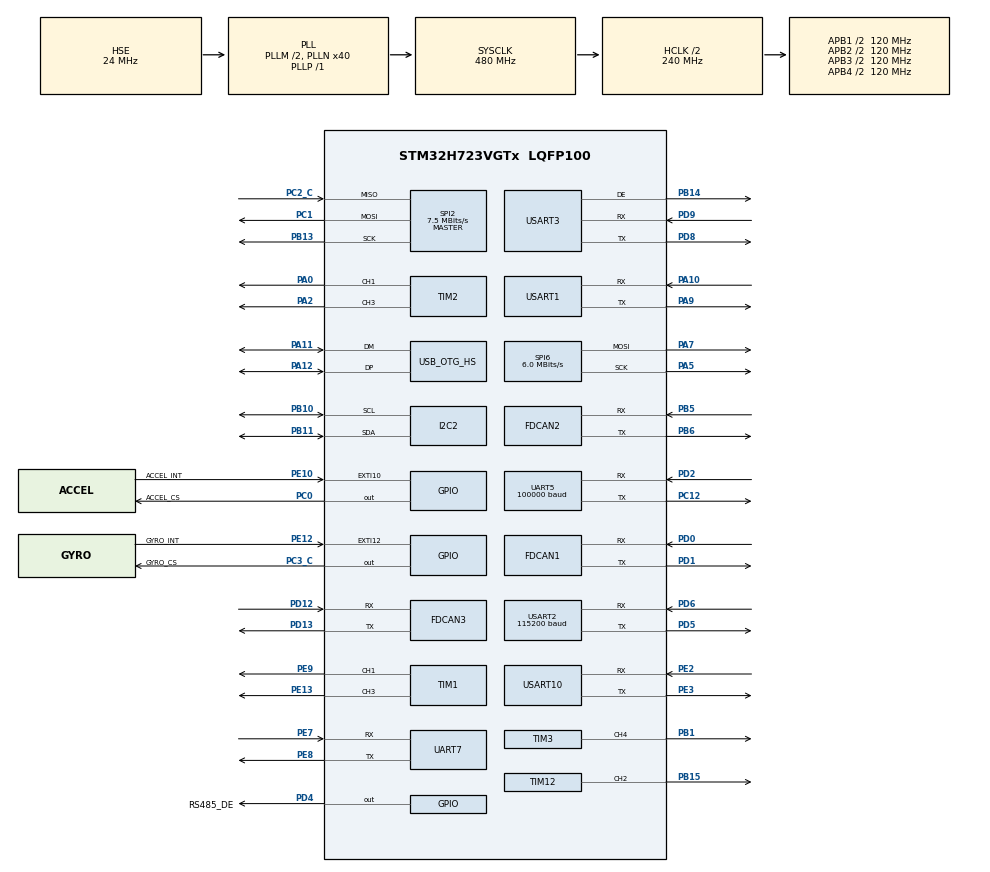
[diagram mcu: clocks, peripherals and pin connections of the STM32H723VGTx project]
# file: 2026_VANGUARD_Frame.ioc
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CORTEX_M7.AccessPermission_Spec=MPU_REGION_FULL_ACCESS
CORTEX_M7.BaseAddress_Spec=0x24000000
CORTEX_M7.CPU_DCache=Disabled
CORTEX_M7.CPU_ICache=Disabled
CORTEX_M7.DisableExec_Spec=MPU_INSTRUCTION_ACCESS_ENABLE
CORTEX_M7.IsShareable_Spec=MPU_ACCESS_NOT_SHAREABLE
CORTEX_M7.Size_Spec=MPU_REGION_SIZE_512KB
CORTEX_M7.SubRegionDisable_Spec=0x0
CORTEX_M7.TypeExtField_Spec=MPU_TEX_LEVEL1
CORTEX_M7.default_mode_Activation=0
Dma.Request0=UART7_RX
Dma.Request1=UART7_TX
Dma.Request2=UART5_RX
Dma.Request3=USART10_TX
Dma.Request4=USART10_RX
Dma.UART5_RX.2.Direction=DMA_PERIPH_TO_MEMORY
Dma.UART5_RX.2.EventEnable=DISABLE
Dma.UART5_RX.2.FIFOMode=DMA_FIFOMODE_DISABLE
Dma.UART5_RX.2.Instance=DMA1_Stream0
Dma.UART5_RX.2.MemDataAlignment=DMA_MDATAALIGN_BYTE
Dma.UART5_RX.2.MemInc=DMA_MINC_ENABLE
Dma.UART5_RX.2.Mode=DMA_NORMAL
Dma.UART5_RX.2.PeriphDataAlignment=DMA_PDATAALIGN_BYTE
Dma.UART5_RX.2.PeriphInc=DMA_PINC_DISABLE
Dma.UART5_RX.2.Polarity=HAL_DMAMUX_REQ_GEN_RISING
Dma.UART5_RX.2.Priority=DMA_PRIORITY_LOW
Dma.UART5_RX.2.RequestNumber=1
Dma.UART5_RX.2.SignalID=NONE
Dma.UART5_RX.2.SyncEnable=DISABLE
Dma.UART5_RX.2.SyncPolarity=HAL_DMAMUX_SYNC_NO_EVENT
Dma.UART5_RX.2.SyncRequestNumber=1
Dma.UART5_RX.2.SyncSignalID=NONE
Dma.UART7_RX.0.Direction=DMA_PERIPH_TO_MEMORY
Dma.UART7_RX.0.EventEnable=DISABLE
Dma.UART7_RX.0.FIFOMode=DMA_FIFOMODE_DISABLE
Dma.UART7_RX.0.Instance=DMA1_Stream1
Dma.UART7_RX.0.MemDataAlignment=DMA_MDATAALIGN_BYTE
Dma.UART7_RX.0.MemInc=DMA_MINC_ENABLE
Dma.UART7_RX.0.Mode=DMA_NORMAL
Dma.UART7_RX.0.PeriphDataAlignment=DMA_PDATAALIGN_BYTE
Dma.UART7_RX.0.PeriphInc=DMA_PINC_DISABLE
Dma.UART7_RX.0.Polarity=HAL_DMAMUX_REQ_GEN_RISING
Dma.UART7_RX.0.Priority=DMA_PRIORITY_LOW
Dma.UART7_RX.0.RequestNumber=1
Dma.UART7_RX.0.SignalID=NONE
Dma.UART7_RX.0.SyncEnable=DISABLE
Dma.UART7_RX.0.SyncPolarity=HAL_DMAMUX_SYNC_NO_EVENT
Dma.UART7_RX.0.SyncRequestNumber=1
Dma.UART7_RX.0.SyncSignalID=NONE
Dma.UART7_TX.1.Direction=DMA_MEMORY_TO_PERIPH
Dma.UART7_TX.1.EventEnable=DISABLE
Dma.UART7_TX.1.FIFOMode=DMA_FIFOMODE_DISABLE
Dma.UART7_TX.1.Instance=DMA2_Stream0
Dma.UART7_TX.1.MemDataAlignment=DMA_MDATAALIGN_BYTE
Dma.UART7_TX.1.MemInc=DMA_MINC_ENABLE
Dma.UART7_TX.1.Mode=DMA_NORMAL
Dma.UART7_TX.1.PeriphDataAlignment=DMA_PDATAALIGN_BYTE
Dma.UART7_TX.1.PeriphInc=DMA_PINC_DISABLE
Dma.UART7_TX.1.Polarity=HAL_DMAMUX_REQ_GEN_RISING
Dma.UART7_TX.1.Priority=DMA_PRIORITY_LOW
Dma.UART7_TX.1.RequestNumber=1
Dma.UART7_TX.1.SignalID=NONE
Dma.UART7_TX.1.SyncEnable=DISABLE
Dma.UART7_TX.1.SyncPolarity=HAL_DMAMUX_SYNC_NO_EVENT
Dma.UART7_TX.1.SyncRequestNumber=1
Dma.UART7_TX.1.SyncSignalID=NONE
Dma.USART10_RX.4.Direction=DMA_PERIPH_TO_MEMORY
Dma.USART10_RX.4.EventEnable=DISABLE
Dma.USART10_RX.4.FIFOMode=DMA_FIFOMODE_DISABLE
Dma.USART10_RX.4.Instance=DMA1_Stream3
Dma.USART10_RX.4.MemDataAlignment=DMA_MDATAALIGN_BYTE
Dma.USART10_RX.4.MemInc=DMA_MINC_ENABLE
Dma.USART10_RX.4.Mode=DMA_NORMAL
Dma.USART10_RX.4.PeriphDataAlignment=DMA_PDATAALIGN_BYTE
Dma.USART10_RX.4.PeriphInc=DMA_PINC_DISABLE
Dma.USART10_RX.4.Polarity=HAL_DMAMUX_REQ_GEN_RISING
Dma.USART10_RX.4.Priority=DMA_PRIORITY_VERY_HIGH
Dma.USART10_RX.4.RequestNumber=1
Dma.USART10_RX.4.SignalID=NONE
Dma.USART10_RX.4.SyncEnable=DISABLE
Dma.USART10_RX.4.SyncPolarity=HAL_DMAMUX_SYNC_NO_EVENT
Dma.USART10_RX.4.SyncRequestNumber=1
Dma.USART10_RX.4.SyncSignalID=NONE
Dma.USART10_TX.3.Direction=DMA_MEMORY_TO_PERIPH
Dma.USART10_TX.3.EventEnable=DISABLE
Dma.USART10_TX.3.FIFOMode=DMA_FIFOMODE_DISABLE
Dma.USART10_TX.3.Instance=DMA1_Stream2
Dma.USART10_TX.3.MemDataAlignment=DMA_MDATAALIGN_BYTE
Dma.USART10_TX.3.MemInc=DMA_MINC_ENABLE
Dma.USART10_TX.3.Mode=DMA_NORMAL
Dma.USART10_TX.3.PeriphDataAlignment=DMA_PDATAALIGN_BYTE
Dma.USART10_TX.3.PeriphInc=DMA_PINC_DISABLE
Dma.USART10_TX.3.Polarity=HAL_DMAMUX_REQ_GEN_RISING
Dma.USART10_TX.3.Priority=DMA_PRIORITY_MEDIUM
Dma.USART10_TX.3.RequestNumber=1
Dma.USART10_TX.3.SignalID=NONE
Dma.USART10_TX.3.SyncEnable=DISABLE
Dma.USART10_TX.3.SyncPolarity=HAL_DMAMUX_SYNC_NO_EVENT
Dma.USART10_TX.3.SyncRequestNumber=1
Dma.USART10_TX.3.SyncSignalID=NONE
FDCAN1.AutoRetransmission=ENABLE
FDCAN1.CalculateBaudRateNominal=1000000
FDCAN1.CalculateTimeBitNominal=1000
FDCAN1.CalculateTimeQuantumNominal=25.0
FDCAN1.DataPrescaler=3
FDCAN1.DataSyncJumpWidth=10
FDCAN1.DataTimeSeg1=29
FDCAN1.DataTimeSeg2=10
FDCAN1.FrameFormat=FDCAN_FRAME_CLASSIC
FDCAN1.NominalPrescaler=3
FDCAN1.NominalSyncJumpWidth=10
FDCAN1.NominalTimeSeg1=29
FDCAN1.NominalTimeSeg2=10
FDCAN1.ProtocolException=ENABLE
FDCAN1.RxFifo0ElmtsNbr=4
FDCAN1.RxFifo1ElmtsNbr=0
FDCAN1.StdFiltersNbr=1
FDCAN1.TxFifoQueueElmtsNbr=3
FDCAN2.AutoRetransmission=ENABLE
FDCAN2.CalculateBaudRateNominal=1000000
FDCAN2.CalculateTimeBitNominal=1000
FDCAN2.CalculateTimeQuantumNominal=25.0
FDCAN2.DataPrescaler=3
FDCAN2.DataSyncJumpWidth=10
FDCAN2.DataTimeSeg1=29
FDCAN2.DataTimeSeg2=10
FDCAN2.FrameFormat=FDCAN_FRAME_CLASSIC
FDCAN2.MessageRAMOffset=854
FDCAN2.NominalPrescaler=3
FDCAN2.NominalSyncJumpWidth=10
FDCAN2.NominalTimeSeg1=29
FDCAN2.NominalTimeSeg2=10
FDCAN2.ProtocolException=ENABLE
FDCAN2.RxFifo0ElmtsNbr=4
FDCAN2.RxFifo1ElmtsNbr=0
FDCAN2.StdFiltersNbr=1
FDCAN2.TxFifoQueueElmtsNbr=3
FDCAN3.AutoRetransmission=ENABLE
FDCAN3.CalculateBaudRateNominal=1000000
FDCAN3.CalculateTimeBitNominal=1000
FDCAN3.CalculateTimeQuantumNominal=25.0
FDCAN3.DataPrescaler=3
FDCAN3.DataSyncJumpWidth=10
FDCAN3.DataTimeSeg1=29
FDCAN3.DataTimeSeg2=10
FDCAN3.MessageRAMOffset=1708
FDCAN3.NominalPrescaler=3
FDCAN3.NominalSyncJumpWidth=10
FDCAN3.NominalTimeSeg1=29
FDCAN3.NominalTimeSeg2=10
FDCAN3.ProtocolException=ENABLE
FDCAN3.RxFifo0ElmtsNbr=4
FDCAN3.RxFifo1ElmtsNbr=0
FDCAN3.StdFiltersNbr=1
FDCAN3.TxFifoQueueElmtsNbr=3
FREERTOS.Tasks01=defaultTask,24,128,StartDefaultTask,Default,NULL,Dynamic,NULL,NULL
I2C2.Timing=0x307075B1
Mcu.Family=STM32H7
Mcu.Name=STM32H723VGTx
Mcu.Package=LQFP100
NVIC.DMA1_Stream0_IRQn=true\:5\:0\:false\:false\:true\:true\:false\:true\:true
NVIC.DMA1_Stream1_IRQn=true\:5\:0\:false\:false\:true\:true\:false\:true\:true
NVIC.DMA1_Stream2_IRQn=true\:5\:0\:false\:false\:true\:true\:false\:true\:true
NVIC.DMA1_Stream3_IRQn=true\:5\:0\:false\:false\:true\:true\:false\:true\:true
NVIC.DMA2_Stream0_IRQn=true\:5\:0\:false\:false\:true\:false\:false\:true\:true
NVIC.FDCAN1_IT0_IRQn=true\:5\:0\:false\:false\:true\:true\:true\:true\:true
NVIC.FDCAN1_IT1_IRQn=true\:5\:0\:false\:false\:true\:true\:true\:true\:true
NVIC.FDCAN2_IT0_IRQn=true\:5\:0\:false\:false\:true\:true\:true\:true\:true
NVIC.FDCAN2_IT1_IRQn=true\:5\:0\:false\:false\:true\:true\:true\:true\:true
NVIC.FDCAN3_IT0_IRQn=true\:5\:0\:false\:false\:true\:true\:true\:true\:true
NVIC.FDCAN3_IT1_IRQn=true\:5\:0\:false\:false\:true\:true\:true\:true\:true
NVIC.OTG_HS_IRQn=true\:5\:0\:false\:false\:true\:true\:false\:true\:true
NVIC.PriorityGroup=NVIC_PRIORITYGROUP_4
NVIC.SPI2_IRQn=true\:5\:0\:false\:false\:true\:true\:true\:true\:true
NVIC.TIM7_IRQn=true\:15\:0\:false\:false\:true\:false\:false\:true\:true
NVIC.TimeBase=TIM7_IRQn
NVIC.TimeBaseIP=TIM7
NVIC.UART5_IRQn=true\:5\:0\:false\:false\:true\:true\:true\:true\:true
NVIC.UART7_IRQn=true\:5\:0\:false\:false\:true\:true\:true\:true\:true
NVIC.USART10_IRQn=true\:5\:0\:false\:false\:true\:true\:true\:true\:true
NVIC.USART1_IRQn=true\:5\:0\:false\:false\:true\:true\:true\:true\:true
NVIC.USART2_IRQn=true\:5\:0\:false\:false\:true\:true\:true\:true\:true
NVIC.USART3_IRQn=true\:5\:0\:false\:false\:true\:true\:true\:true\:true
PA0.Signal=S_TIM2_CH1_ETR
PA10.Mode=Asynchronous
PA10.Signal=USART1_RX
PA11.Mode=Device_Only_FS
PA11.Signal=USB_OTG_HS_DM
PA12.Mode=Device_Only_FS
PA12.Signal=USB_OTG_HS_DP
PA13(JTMS/SWDIO).Mode=Serial_Wire
PA13(JTMS/SWDIO).Signal=DEBUG_JTMS-SWDIO
PA14(JTCK/SWCLK).Mode=Serial_Wire
PA14(JTCK/SWCLK).Signal=DEBUG_JTCK-SWCLK
PA2.Signal=S_TIM2_CH3
PA5.Mode=TX_Only_Simplex_Unidirect_Master
PA5.Signal=SPI6_SCK
PA7.Mode=TX_Only_Simplex_Unidirect_Master
PA7.Signal=SPI6_MOSI
PA9.Mode=Asynchronous
PA9.Signal=USART1_TX
PB1.Signal=S_TIM3_CH4
PB10.Mode=I2C
PB10.Signal=I2C2_SCL
PB11.Mode=I2C
PB11.Signal=I2C2_SDA
PB13.Mode=Full_Duplex_Master
PB13.Signal=SPI2_SCK
PB14.Mode=Hardware Flow Control (RS485)
PB14.Signal=USART3_DE
PB15.Signal=S_TIM12_CH2
PB5.GPIO_Speed=GPIO_SPEED_FREQ_HIGH
PB5.Mode=FDCAN_Activate
PB5.Signal=FDCAN2_RX
PB6.GPIO_Speed=GPIO_SPEED_FREQ_HIGH
PB6.Mode=FDCAN_Activate
PB6.Signal=FDCAN2_TX
PC0.GPIO_Label=ACCEL_CS
PC0.GPIO_Speed=GPIO_SPEED_FREQ_HIGH
PC0.PinState=GPIO_PIN_SET
PC0.Signal=GPIO_Output
PC1.Mode=Full_Duplex_Master
PC1.Signal=SPI2_MOSI
PC12.Mode=Asynchronous
PC12.Signal=UART5_TX
PC14-OSC32_IN.Mode=LSE-External-Oscillator
PC14-OSC32_IN.Signal=RCC_OSC32_IN
PC15-OSC32_OUT.Mode=LSE-External-Oscillator
PC15-OSC32_OUT.Signal=RCC_OSC32_OUT
PC2_C.Mode=Full_Duplex_Master
PC2_C.Signal=SPI2_MISO
PC3_C.GPIO_Label=GYRO_CS
PC3_C.GPIO_Speed=GPIO_SPEED_FREQ_HIGH
PC3_C.PinState=GPIO_PIN_SET
PC3_C.Signal=GPIO_Output
PD0.GPIO_Speed=GPIO_SPEED_FREQ_HIGH
PD0.Mode=FDCAN_Activate
PD0.Signal=FDCAN1_RX
PD1.GPIO_Speed=GPIO_SPEED_FREQ_HIGH
PD1.Mode=FDCAN_Activate
PD1.Signal=FDCAN1_TX
PD12.GPIO_Speed=GPIO_SPEED_FREQ_HIGH
PD12.Mode=FDCAN_Activate
PD12.Signal=FDCAN3_RX
PD13.GPIO_Speed=GPIO_SPEED_FREQ_HIGH
PD13.Mode=FDCAN_Activate
PD13.Signal=FDCAN3_TX
PD2.Mode=Asynchronous
PD2.Signal=UART5_RX
PD4.GPIO_Label=RS485_DE
PD4.GPIO_Speed=GPIO_SPEED_FREQ_HIGH
PD4.Signal=GPIO_Output
PD5.Mode=Asynchronous
PD5.Signal=USART2_TX
PD6.Mode=Asynchronous
PD6.Signal=USART2_RX
PD8.Mode=Asynchronous
PD8.Signal=USART3_TX
PD9.Mode=Asynchronous
PD9.Signal=USART3_RX
PE10.GPIO_Label=ACCEL_INT
PE10.GPIO_PuPd=GPIO_NOPULL
PE10.Signal=GPXTI10
PE12.GPIO_Label=GYRO_INT
PE12.GPIO_PuPd=GPIO_NOPULL
PE12.Signal=GPXTI12
PE13.Signal=S_TIM1_CH3
PE2.Mode=Asynchronous
PE2.Signal=USART10_RX
PE3.Mode=Asynchronous
PE3.Signal=USART10_TX
PE7.Mode=Asynchronous
PE7.Signal=UART7_RX
PE8.Mode=Asynchronous
PE8.Signal=UART7_TX
PE9.Signal=S_TIM1_CH1
PH0-OSC_IN.Mode=HSE-External-Oscillator
PH0-OSC_IN.Signal=RCC_OSC_IN
PH1-OSC_OUT.Mode=HSE-External-Oscillator
PH1-OSC_OUT.Signal=RCC_OSC_OUT
ProjectManager.HeapSize=0x1600
ProjectManager.StackSize=0x3200
ProjectManager.TargetToolchain=MDK-ARM V5.32
RCC.ADCFreq_Value=240000000
RCC.APB1Freq_Value=120000000
RCC.APB2Freq_Value=120000000
RCC.APB3Freq_Value=120000000
RCC.APB4Freq_Value=120000000
RCC.CortexFreq_Value=480000000
RCC.D1PPRE=RCC_APB3_DIV2
RCC.D2PPRE1=RCC_APB1_DIV2
RCC.D2PPRE2=RCC_APB2_DIV2
RCC.D3PPRE=RCC_APB4_DIV2
RCC.DIVM1=2
RCC.DIVM2=2
RCC.DIVN1=40
RCC.DIVN2=40
RCC.DIVP1=1
RCC.DIVQ1=4
RCC.DIVQ2=20
RCC.HCLKFreq_Value=240000000
RCC.HPRE=RCC_HCLK_DIV2
RCC.HSE_VALUE=24000000
RCC.PLL2FRACN=0
RCC.PLLFRACN=0
RCC.PLLSourceVirtual=RCC_PLLSOURCE_HSE
RCC.SPI6CLockSelection=RCC_SPI6CLKSOURCE_PLL2
RCC.SYSCLKFreq_VALUE=480000000
RCC.SYSCLKSource=RCC_SYSCLKSOURCE_PLLCLK
RCC.USBCLockSelection=RCC_USBCLKSOURCE_HSI48
RCC.USBFreq_Value=48000000
SH.S_TIM12_CH2.0=TIM12_CH2,PWM Generation2 CH2
SH.S_TIM1_CH1.0=TIM1_CH1,PWM Generation1 CH1
SH.S_TIM1_CH3.0=TIM1_CH3,PWM Generation3 CH3
SH.S_TIM2_CH1_ETR.0=TIM2_CH1,PWM Generation1 CH1
SH.S_TIM2_CH3.0=TIM2_CH3,PWM Generation3 CH3
SH.S_TIM3_CH4.0=TIM3_CH4,PWM Generation4 CH4
SPI2.BaudRatePrescaler=SPI_BAUDRATEPRESCALER_16
SPI2.CLKPhase=SPI_PHASE_2EDGE
SPI2.CLKPolarity=SPI_POLARITY_HIGH
SPI2.CalculateBaudRate=7.5 MBits/s
SPI2.DataSize=SPI_DATASIZE_8BIT
SPI2.Direction=SPI_DIRECTION_2LINES
SPI2.Mode=SPI_MODE_MASTER
SPI2.VirtualType=VM_MASTER
SPI6.BaudRatePrescaler=SPI_BAUDRATEPRESCALER_4
SPI6.CLKPhase=SPI_PHASE_2EDGE
SPI6.CalculateBaudRate=6.0 MBits/s
SPI6.DataSize=SPI_DATASIZE_8BIT
SPI6.Direction=SPI_DIRECTION_2LINES_TXONLY
SPI6.Mode=SPI_MODE_MASTER
SPI6.VirtualType=VM_MASTER
TIM1.Channel-PWM\ Generation1\ CH1=TIM_CHANNEL_1
TIM1.Channel-PWM\ Generation3\ CH3=TIM_CHANNEL_3
TIM12.Channel-PWM\ Generation2\ CH2=TIM_CHANNEL_2
TIM12.Period=2000-1
TIM12.Prescaler=24-1
TIM12.Pulse-PWM\ Generation2\ CH2=1000
TIM2.Channel-PWM\ Generation1\ CH1=TIM_CHANNEL_1
TIM2.Channel-PWM\ Generation3\ CH3=TIM_CHANNEL_3
TIM3.Channel-PWM\ Generation4\ CH4=TIM_CHANNEL_4
TIM3.Period=20000-1
TIM3.Prescaler=24-1
UART5.BaudRate=100000
UART5.Mode=MODE_RX
UART5.Parity=PARITY_EVEN
UART5.WordLength=WORDLENGTH_9B
USART1.VirtualMode-Asynchronous=VM_ASYNC
USART10.VirtualMode=VM_ASYNC
USART2.BaudRate=115200
USART2.OverSampling=UART_OVERSAMPLING_16
USART2.VirtualMode-Asynchronous=VM_ASYNC
USART3.VirtualMode-Asynchronous=VM_ASYNC
USART3.VirtualMode-Hardware\ Flow\ Control\ (RS485)=VM_ASYNC
USB_DEVICE.CLASS_NAME_HS=CDC
USB_DEVICE.VirtualMode=Cdc
USB_DEVICE.VirtualModeHS=Cdc_HS
USB_OTG_HS.VirtualMode-Device_Only_FS=Device_Only_FS
VP_FREERTOS_VS_CMSIS_V2.Mode=CMSIS_V2
VP_MEMORYMAP_VS_MEMORYMAP.Mode=CurAppReg
VP_SYS_VS_tim7.Mode=TIM7
VP_USB_DEVICE_VS_USB_DEVICE_CDC_HS.Mode=CDC_HS
board=custom

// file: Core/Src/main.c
/* USER CODE BEGIN Header */
/**
  ******************************************************************************
  * @file           : main.c
  * @brief          : Main program body
  ******************************************************************************
  * @attention
  *
  * Copyright (c) 2025 STMicroelectronics.
  * All rights reserved.
  *
  * This software is licensed under terms that can be found in the LICENSE file
  * in the root directory of this software component.
  * If no LICENSE file comes with this software, it is provided AS-IS.
  *
  ******************************************************************************
  */
/* USER CODE END Header */
#include "main.h"
#include "cmsis_os.h"
#include "dma.h"
#include "fdcan.h"
#include "i2c.h"
#include "spi.h"
#include "tim.h"
#include "usart.h"
#include "usb_device.h"
#include "gpio.h"

/* USER CODE BEGIN Includes */
#include "robot_frame_init.h"
#include "usbd_cdc_if.h"
/* USER CODE END Includes */

void SystemClock_Config(void);
void MX_FREERTOS_Init(void);

int main(void)
{

  /* MCU Configuration--------------------------------------------------------*/

  /* Reset of all peripherals, Initializes the Flash interface and the Systick. */
  HAL_Init();

  /* Configure the system clock */
  SystemClock_Config();

  /* Initialize all configured peripherals */
  MX_GPIO_Init();
  MX_DMA_Init();
  MX_TIM1_Init();
  MX_TIM2_Init();
  MX_UART5_Init();
  MX_UART7_Init();
  MX_USART1_UART_Init();
  MX_USART2_UART_Init();
  MX_USART3_UART_Init();
  MX_USART10_UART_Init();
  MX_FDCAN1_Init();
  MX_FDCAN2_Init();
  MX_FDCAN3_Init();
  MX_SPI2_Init();
  MX_SPI6_Init();
  MX_TIM12_Init();
  MX_I2C2_Init();
  MX_TIM3_Init();
  /* USER CODE BEGIN 2 */
  Robot_Frame_Init();
  /* USER CODE END 2 */

  /* Init scheduler */
  osKernelInitialize();  /* Call init function for freertos objects (in cmsis_os2.c) */
  MX_FREERTOS_Init();

  /* Start scheduler */
  osKernelStart();

  /* We should never get here as control is now taken by the scheduler */

  /* Infinite loop */
  while (1)
  {

  }
}

void SystemClock_Config(void)
{
  RCC_OscInitTypeDef RCC_OscInitStruct = {0};
  RCC_ClkInitTypeDef RCC_ClkInitStruct = {0};

  /** Supply configuration update enable
  */
  HAL_PWREx_ConfigSupply(PWR_LDO_SUPPLY);

  /** Configure the main internal regulator output voltage
  */
  __HAL_PWR_VOLTAGESCALING_CONFIG(PWR_REGULATOR_VOLTAGE_SCALE0);

  while(!__HAL_PWR_GET_FLAG(PWR_FLAG_VOSRDY)) {}

  /** Initializes the RCC Oscillators according to the specified parameters
  * in the RCC_OscInitTypeDef structure.
  */
  RCC_OscInitStruct.OscillatorType = RCC_OSCILLATORTYPE_HSI48|RCC_OSCILLATORTYPE_HSE;
  RCC_OscInitStruct.HSEState = RCC_HSE_ON;
  RCC_OscInitStruct.HSI48State = RCC_HSI48_ON;
  RCC_OscInitStruct.PLL.PLLState = RCC_PLL_ON;
  RCC_OscInitStruct.PLL.PLLSource = RCC_PLLSOURCE_HSE;
  RCC_OscInitStruct.PLL.PLLM = 2;
  RCC_OscInitStruct.PLL.PLLN = 40;
  RCC_OscInitStruct.PLL.PLLP = 1;
  RCC_OscInitStruct.PLL.PLLQ = 4;
  RCC_OscInitStruct.PLL.PLLR = 2;
  RCC_OscInitStruct.PLL.PLLRGE = RCC_PLL1VCIRANGE_3;
  RCC_OscInitStruct.PLL.PLLVCOSEL = RCC_PLL1VCOWIDE;
  RCC_OscInitStruct.PLL.PLLFRACN = 0;
  if (HAL_RCC_OscConfig(&RCC_OscInitStruct) != HAL_OK)
  {
    Error_Handler();
  }

  /** Initializes the CPU, AHB and APB buses clocks
  */
  RCC_ClkInitStruct.ClockType = RCC_CLOCKTYPE_HCLK|RCC_CLOCKTYPE_SYSCLK
                              |RCC_CLOCKTYPE_PCLK1|RCC_CLOCKTYPE_PCLK2
                              |RCC_CLOCKTYPE_D3PCLK1|RCC_CLOCKTYPE_D1PCLK1;
  RCC_ClkInitStruct.SYSCLKSource = RCC_SYSCLKSOURCE_PLLCLK;
  RCC_ClkInitStruct.SYSCLKDivider = RCC_SYSCLK_DIV1;
  RCC_ClkInitStruct.AHBCLKDivider = RCC_HCLK_DIV2;
  RCC_ClkInitStruct.APB3CLKDivider = RCC_APB3_DIV2;
  RCC_ClkInitStruct.APB1CLKDivider = RCC_APB1_DIV2;
  RCC_ClkInitStruct.APB2CLKDivider = RCC_APB2_DIV2;
  RCC_ClkInitStruct.APB4CLKDivider = RCC_APB4_DIV2;

  if (HAL_RCC_ClockConfig(&RCC_ClkInitStruct, FLASH_LATENCY_3) != HAL_OK)
  {
    Error_Handler();
  }
}

void HAL_TIM_PeriodElapsedCallback(TIM_HandleTypeDef *htim)
{
  if (htim->Instance == TIM7)
  {
    HAL_IncTick();
  }
}

void Error_Handler(void)
{
  __disable_irq();
  while (1)
  {
  }
}

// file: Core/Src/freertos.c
/* USER CODE BEGIN Header */
/**
  ******************************************************************************
  * File Name          : freertos.c
  * Description        : Code for freertos applications
  ******************************************************************************
  * @attention
  *
  * Copyright (c) 2025 STMicroelectronics.
  * All rights reserved.
  *
  * This software is licensed under terms that can be found in the LICENSE file
  * in the root directory of this software component.
  * If no LICENSE file comes with this software, it is provided AS-IS.
  *
  ******************************************************************************
  */
/* USER CODE END Header */

#include "FreeRTOS.h"
#include "task.h"
#include "main.h"
#include "cmsis_os.h"

/* USER CODE BEGIN Includes */
#include "buzzer.h"
#include "ws2812.h"
#include "remote_control.h"
#include "bmi088.h"

#include "referee_task.h"
/* USER CODE END Includes */

/* USER CODE BEGIN PM */
extern RC_ctrl_t *rc_ctl;
/* USER CODE END PM */

/* Definitions for defaultTask */
osThreadId_t defaultTaskHandle;
const osThreadAttr_t defaultTask_attributes = {
  .name = "defaultTask",
  .stack_size = 128 * 4,
  .priority = (osPriority_t) osPriorityNormal,
};

/* USER CODE BEGIN FunctionPrototypes */
osThreadId_t UI_TaskHandle;
uint32_t UI_TaskBuffer[512];
StaticTask_t UI_TaskControlBlock;
const osThreadAttr_t UI_Task_attributes = {
    .name = "UI_Task",
    .cb_mem = &UI_TaskControlBlock,
    .cb_size = sizeof(UI_TaskControlBlock),
    .stack_mem = &UI_TaskBuffer[0],
    .stack_size = sizeof(UI_TaskBuffer),
    .priority = (osPriority_t)osPriorityNormal,
};
/* USER CODE END FunctionPrototypes */

void StartDefaultTask(void *argument);

extern void MX_USB_DEVICE_Init(void);
void Start_UI_Task(void *argument);

void MX_FREERTOS_Init(void); /* (MISRA C 2004 rule 8.1) */

void MX_FREERTOS_Init(void) {

  /* Create the thread(s) */
  /* creation of defaultTask */
  defaultTaskHandle = osThreadNew(StartDefaultTask, NULL, &defaultTask_attributes);

  /* USER CODE BEGIN RTOS_THREADS */
  /* add threads, ... */
  UI_TaskHandle = osThreadNew(Start_UI_Task, NULL, &UI_Task_attributes);
  /* USER CODE END RTOS_THREADS */

}

/* USER CODE BEGIN Header_StartDefaultTask */
/**
  * @brief  Function implementing the defaultTask thread.
  * @param  argument: Not used
  * @retval None
  */
uint32_t beat = 0;
/* USER CODE END Header_StartDefaultTask */
void StartDefaultTask(void *argument)
{
  /* init code for USB_DEVICE */
  MX_USB_DEVICE_Init();
  /* USER CODE BEGIN StartDefaultTask */
	WS2812_Control(ws2812_instance, GREEN_WS2812_COLOR);
	Buzzer_Play(StartUP_sound);

  /* Infinite loop */
  for(;;)
  {
		beat++;
		if((beat % 30000) == 0)
		{
			Buzzer_Play(Warming_sound);
		}
    osDelay(1);
  }
  /* USER CODE END StartDefaultTask */
}

/* USER CODE BEGIN Application */
void Start_UI_Task(void *argument)
{
  /* USER CODE BEGIN Start_UI_Task */
  uint8_t first_flag = 0;
  osDelay(1500);
  /* Infinite loop */
  for (;;)
  {
    static uint8_t last_key_cnt[16] = {0};
    static uint8_t key_mode_last = 0;
#define KEY_CLICK(k) (rc_ctl->key_count[KEY_PRESS][(k)] != last_key_cnt[(k)])
#define KEY_ACK(k) (last_key_cnt[(k)] = rc_ctl->key_count[KEY_PRESS][(k)])
    if (first_flag == 0)
    {
      User_UI_Init();
      first_flag = 1;
    }
    if (KEY_CLICK(Key_X))
    {
      User_UI_Init();
      osDelay(910);
      KEY_ACK(Key_X);
    }
#undef KEY_CLICK
#undef KEY_ACK
    UI_Task();
  }
  /* USER CODE END Start_UI_Task */
}

/* USER CODE END Application */
